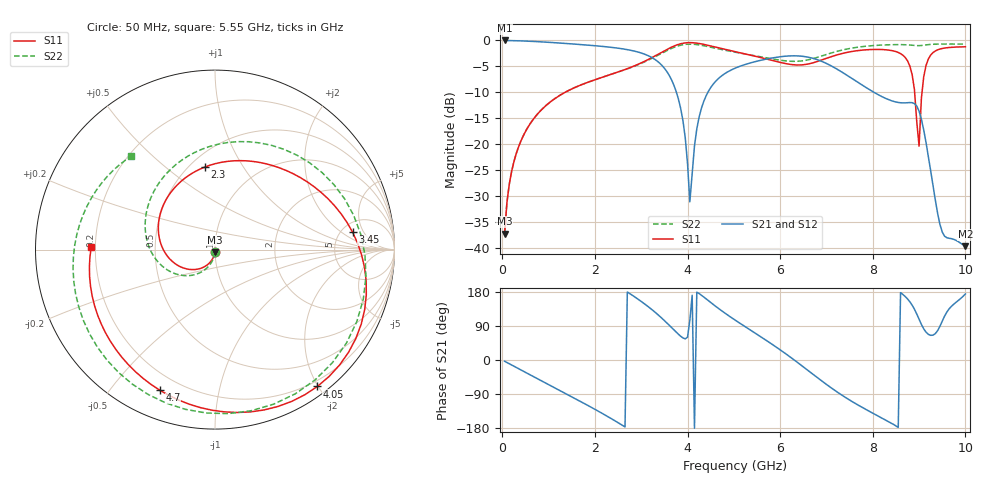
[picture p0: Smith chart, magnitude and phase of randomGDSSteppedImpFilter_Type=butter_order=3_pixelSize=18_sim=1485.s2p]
! freq	dB(S11)	phase(S11)	dB(S12)	phase(S12)
!  dB(S21)	phase(S21)	dB(S22)	phase(S22)
!S-par simulation data
#  GHz  S  DB  R 50
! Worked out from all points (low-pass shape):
!   200 points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, 50 MHz to 10 GHz, reference 50 ohm
!   highest |S21| = -0.01 dB at 50 MHz (marker M1); lowest = -39.6 dB at 10 GHz (marker M2)
!   |S21| within 3 dB of the highest: start of sweep to 3.166 GHz; 6.159 GHz to 6.426 GHz (266.5 MHz wide, 4.24 % of centre)
!   lowest |S11| = -37.2 dB at 50 MHz (marker M3), VSWR 1.03, Z = 49.9 - j1.38 ohm
!   |S11| at or under -10 dB: start of sweep to 1.355 GHz; 8.904 GHz to 9.064 GHz (159.7 MHz wide, 1.78 % of centre)
!   |S22| runs from -37.2 to -0.7 dB; largest |S21 - S12| = 0
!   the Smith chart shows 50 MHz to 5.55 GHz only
!   S11 on the Smith chart (normalised r, x): 50 MHz: 1.00, -0.03; 2.3 GHz: 0.59, +0.69; 3.45 GHz: 6.32, +3.03; 4.05 GHz: 0.12, -1.99; 4.7 GHz: 0.13, -0.67; 5.55 GHz: 0.18, +0.01
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0.05  -37.18 -93.1  -0.01 -3.3  -0.01 -3.3  -37.17 -92.1
0.2  -25.28 -105.0  -0.03 -13.1  -0.03 -13.1  -25.27 -101.3
0.5  -17.55 -127.7  -0.12 -32.6  -0.12 -32.6  -17.54 -118.4
1.75  -8.39 138.9  -0.84 -113.4  -0.84 -113.4  -8.38 172.8
2.3  -6.69 97.2  -1.28 -150.9  -1.28 -150.9  -6.69 139.6
3.4  -2.49 11.6  -4.40 115.4  -4.40 115.4  -2.67 35.7
3.45  -2.24 7.2  -4.84 109.8  -4.84 109.8  -2.44 28.7
3.85  -0.65 -32.2  -13.02 62.9  -13.02 62.9  -0.93 -35.4
4.05  -0.43 -53.2  -31.08 105.1  -31.08 105.1  -0.71 -69.2
4.25  -0.59 -73.0  -14.76 175.4  -14.76 175.4  -0.87 -100.5
4.7  -1.50 -111.4  -7.08 133.2  -7.08 133.2  -1.69 -157.1
5.05  -2.22 -138.8  -5.26 103.5  -5.26 103.5  -2.30 169.5
5.55  -3.23 178.6  -3.89 63.8  -3.89 63.8  -3.11 131.9
6.2  -4.59 102.7  -2.98 9.4  -2.98 9.4  -4.00 97.4
6.7  -4.34 24.7  -3.43 -36.8  -3.43 -36.8  -3.53 78.9
7.5  -2.21 -79.7  -7.03 -105.7  -7.03 -105.7  -1.56 40.9
8.35  -1.87 -158.0  -11.43 -163.1  -11.43 -163.1  -0.83 -0.4
8.8  -4.92 140.8  -11.97 153.8  -11.97 153.8  -0.88 -19.6
9  -20.36 -39.9  -13.62 107.4  -13.62 107.4  -1.01 -26.0
9.1  -7.00 -114.8  -17.24 82.3  -17.24 82.3  -0.92 -28.9
9.4  -1.81 -177.9  -33.28 77.4  -33.28 77.4  -0.71 -39.9
10  -1.22 123.2  -39.62 174.3  -39.62 174.3  -0.72 -60.3
